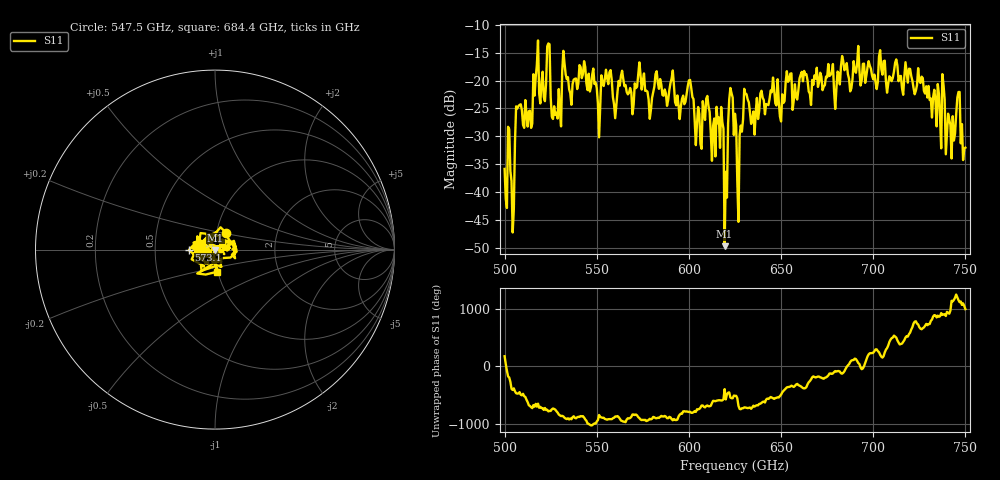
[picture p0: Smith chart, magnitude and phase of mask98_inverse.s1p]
!Created with skrf (http://scikit-rf.org).
# GHz S MA R 50.0
!freq magS11 angS11
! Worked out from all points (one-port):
!   401 points, 500 GHz to 750 GHz, reference 50 ohm
!   lowest |S11| = -49.7 dB at 619.4 GHz (marker M1), VSWR 1.01, Z = 50.3 - j0.19 ohm
!   |S11| at or under -10 dB: start of sweep to end of sweep
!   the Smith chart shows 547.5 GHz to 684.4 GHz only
!   S11 on the Smith chart (normalised r, x): 547.5 GHz: 1.11, +0.21; 573.1 GHz: 0.75, -0.00; 684.4 GHz: 0.99, -0.25
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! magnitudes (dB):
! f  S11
! 500 GHz  -35.8
! 504.4 GHz  -47.2
! 507.5 GHz  -24.6
! 513.8 GHz  -25.4
! 516.9 GHz  -19.4
! 520.6 GHz  -18.4
! 523.8 GHz  -13.4
! 526.9 GHz  -24.6
! 531.2 GHz  -18.4
! 547.5 GHz  -19.0
! 562.5 GHz  -20.9
! 573.1 GHz  -16.7
! 593.8 GHz  -22.7
! 600 GHz  -20.0
! 616.2 GHz  -26.6
! 619.4 GHz  -49.7
! 622.5 GHz  -21.3
! 625 GHz  -26.0
! 627.5 GHz  -29.9
! 631.2 GHz  -22.5
! 635 GHz  -25.6
! 656.2 GHz  -25.3
! 684.4 GHz  -18.2
! 687.5 GHz  -21.9
! 718.8 GHz  -20.4
! 743.1 GHz  -26.4
! 745.6 GHz  -23.1
! 750 GHz  -32.0
